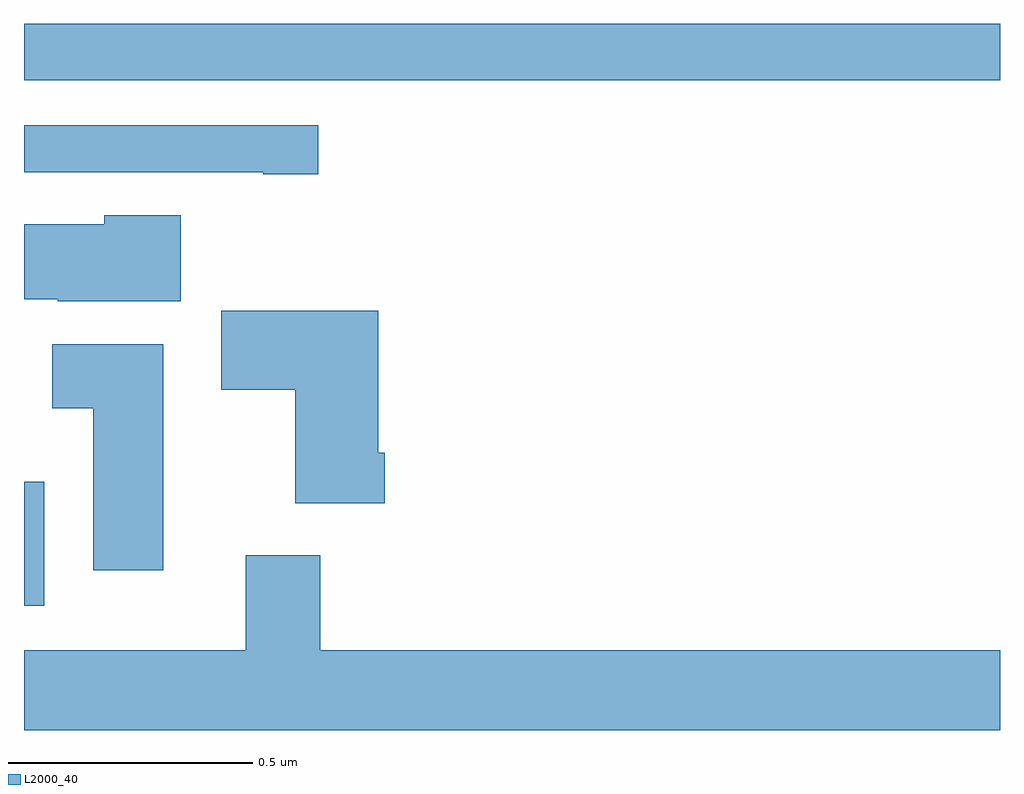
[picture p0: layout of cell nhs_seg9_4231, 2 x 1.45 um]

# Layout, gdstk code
import gdstk
lib = gdstk.Library(unit=1e-6, precision=1e-09)
def R(c, l, rs):  # rectangles x0, y0, x1, y1
    for r in rs: c.add(gdstk.rectangle(r[:2], r[2:], *l))
def P(c, l, *ps):  # polygons
    for p in ps: c.add(gdstk.Polygon(p, *l))
L2000_40 = (2000, 40)

nhs_seg9_4231 = lib.new_cell('nhs_seg9_4231')
R(nhs_seg9_4231, L2000_40, [(163,1231.307,163.042,1231.561), (163,1232.384,165,1232.5)])
P(nhs_seg9_4231, L2000_40, [(163.603,1232.292),(163,1232.292),(163,1232.196),(163.49,1232.196),(163.49,1232.191),(163.603,1232.191)],
  [(163.321,1232.107),(163.164,1232.107),(163.164,1232.089),(163,1232.089),(163,1231.935),(163.069,1231.935),(163.069,1231.931),(163.321,1231.931)],
  [(163.739,1231.621),(163.726,1231.621),(163.726,1231.912),(163.404,1231.912),(163.404,1231.75),(163.556,1231.75),(163.556,1231.517),(163.739,1231.517)],
  [(163.285,1231.843),(163.058,1231.843),(163.058,1231.712),(163.142,1231.712),(163.142,1231.38),(163.285,1231.38)],
  [(165,1231.216),(163.607,1231.216),(163.607,1231.411),(163.454,1231.411),(163.454,1231.216),(163,1231.216),(163,1231.052),(165,1231.052)])

lib.write_gds('nhs_seg9_4231.gds')
